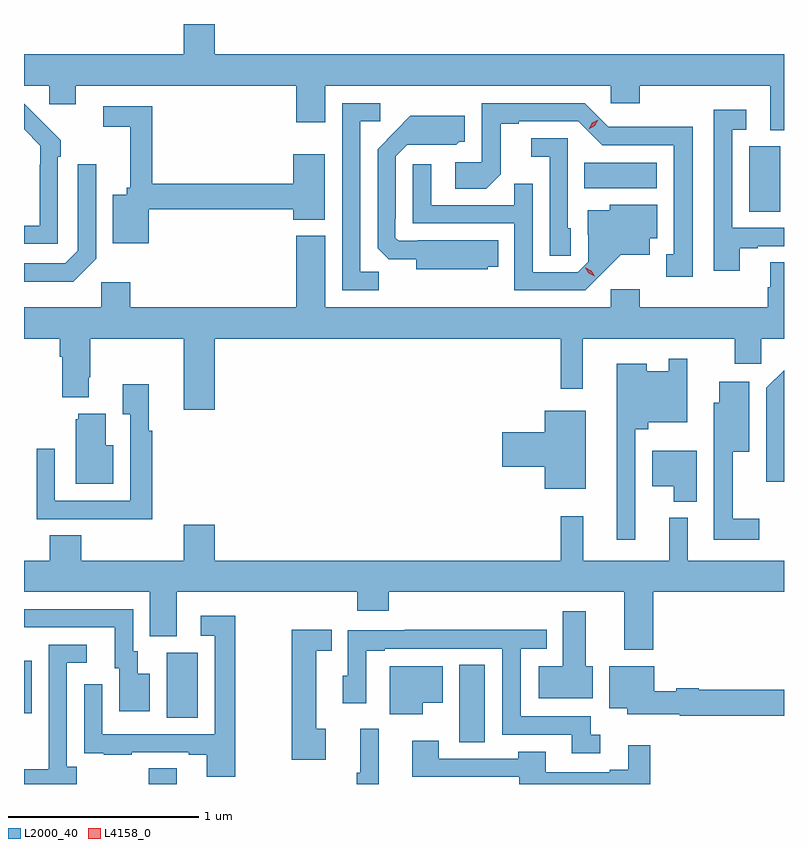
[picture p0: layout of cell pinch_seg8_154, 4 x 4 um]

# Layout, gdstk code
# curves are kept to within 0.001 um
import gdstk
lib = gdstk.Library(unit=1e-6, precision=1e-09)
def R(c, l, rs):  # rectangles x0, y0, x1, y1
    for r in rs: c.add(gdstk.rectangle(r[:2], r[2:], *l))
def P(c, l, *ps):  # polygons
    for p in ps: c.add(gdstk.Polygon(p, *l))
L2000_40 = (2000, 40)
L4158_0 = (4158, 0)

pinch_seg8_154 = lib.new_cell('pinch_seg8_154')
R(pinch_seg8_154, L2000_40, [(704.284,1146.124,704.431,1146.206), (705.92,1146.343,706.054,1146.752), (704.378,1146.472,704.542,1146.816), (703.628,1146.497,703.669,1146.772), (707.444,1149.136,707.608,1149.48), (706.576,1149.26,706.957,1149.394)])
P(pinch_seg8_154, L2000_40, [(704.632,1150.124),(704.468,1150.124),(704.468,1149.964),(703.628,1149.964),(703.628,1149.8),(703.761,1149.8),(703.761,1149.702),(703.9,1149.702),(703.9,1149.8),(705.062,1149.8),(705.062,1149.606),(705.214,1149.606),(705.214,1149.8),(706.716,1149.8),(706.716,1149.707),(706.868,1149.707),(706.868,1149.8),(707.555,1149.8),(707.555,1149.565),(707.628,1149.565),(707.628,1149.964),(704.632,1149.964)],
  [(707.149,1149.584),(706.926,1149.584),(706.926,1149.582),(706.704,1149.582),(706.578,1149.708),(706.038,1149.708),(706.038,1149.396),(705.897,1149.396),(705.897,1149.256),(706.061,1149.256),(706.137,1149.332),(706.137,1149.6),(706.231,1149.6),(706.231,1149.612),(706.545,1149.612),(706.671,1149.486),(707.048,1149.486),(707.048,1148.913),(707.009,1148.913),(707.009,1148.793),(707.149,1148.793)],
  [(705.495,1148.819),(705.399,1148.819),(705.399,1149.612),(705.502,1149.612),(705.502,1149.708),(705.303,1149.708),(705.303,1148.724),(705.495,1148.724)],
  [(703.806,1149.425),(703.821,1149.425),(703.821,1149.513),(703.628,1149.704),(703.628,1149.569),(703.713,1149.483),(703.713,1149.383),(703.71,1149.383),(703.71,1149.063),(703.628,1149.063),(703.628,1148.967),(703.806,1148.967)],
  [(704.284,1149.148),(705.044,1149.148),(705.044,1149.095),(705.211,1149.095),(705.211,1149.439),(705.044,1149.439),(705.044,1149.284),(704.303,1149.284),(704.303,1149.69),(704.046,1149.69),(704.046,1149.582),(704.186,1149.582),(704.186,1149.261),(704.168,1149.261),(704.168,1149.226),(704.096,1149.226),(704.096,1148.969),(704.284,1148.969)],
  [(707.395,1148.943),(707.491,1148.943),(707.491,1148.955),(707.628,1148.955),(707.628,1149.051),(707.355,1149.051),(707.355,1149.567),(707.428,1149.567),(707.428,1149.673),(707.259,1149.673),(707.259,1148.826),(707.395,1148.826)],
  [(706.068,1148.846),(706.124,1148.846),(706.124,1148.986),(705.7,1148.986),(705.7,1148.982),(705.6,1148.982),(705.582,1149),(705.582,1149.1),(705.585,1149.1),(705.585,1149.429),(705.645,1149.489),(705.902,1149.488),(705.918,1149.504),(705.949,1149.504),(705.949,1149.64),(705.661,1149.64),(705.489,1149.466),(705.489,1148.944),(705.548,1148.885),(705.692,1148.885),(705.692,1148.834),(706.068,1148.834)],
  [(706.506,1149.048),(706.491,1149.048),(706.491,1149.522),(706.299,1149.522),(706.299,1149.425),(706.395,1149.425),(706.395,1148.905),(706.506,1148.905)],
  [(704.007,1148.889),(704.007,1149.385),(703.911,1149.385),(703.911,1148.931),(703.845,1148.865),(703.628,1148.865),(703.628,1148.768),(703.886,1148.768)],
  [(706.666,1148.807),(706.769,1148.909),(706.921,1148.909),(706.921,1148.996),(706.96,1148.996),(706.96,1149.172),(706.71,1149.172),(706.71,1149.145),(706.595,1149.145),(706.595,1149.016),(706.599,1149.016),(706.599,1148.874),(706.542,1148.817),(706.305,1148.817),(706.305,1149.284),(706.207,1149.284),(706.207,1149.171),(705.771,1149.171),(705.771,1149.385),(705.675,1149.385),(705.675,1149.075),(706.209,1149.075),(706.209,1148.724),(706.582,1148.724)],
  [(704.632,1148.468),(706.453,1148.468),(706.453,1148.205),(706.57,1148.205),(706.57,1148.468),(707.369,1148.468),(707.369,1148.337),(707.508,1148.337),(707.508,1148.468),(707.628,1148.468),(707.628,1148.87),(707.555,1148.87),(707.555,1148.738),(707.543,1148.738),(707.543,1148.632),(706.868,1148.632),(706.868,1148.728),(706.716,1148.728),(706.716,1148.632),(705.214,1148.632),(705.214,1149.01),(705.062,1149.01),(705.062,1148.632),(704.186,1148.632),(704.186,1148.764),(704.034,1148.764),(704.034,1148.632),(703.628,1148.632),(703.628,1148.468),(703.817,1148.468),(703.817,1148.372),(703.829,1148.372),(703.829,1148.159),(703.969,1148.159),(703.969,1148.266),(703.977,1148.266),(703.977,1148.468),(704.468,1148.468),(704.468,1148.094),(704.632,1148.094)],
  [(706.845,1147.991),(706.914,1147.991),(706.914,1148.027),(707.118,1148.027),(707.118,1148.362),(707.022,1148.362),(707.022,1148.296),(706.906,1148.296),(706.906,1148.335),(706.748,1148.335),(706.748,1147.41),(706.845,1147.41)],
  [(707.628,1148.302),(707.535,1148.209),(707.535,1147.716),(707.628,1147.716)],
  [(707.497,1147.519),(707.357,1147.519),(707.357,1147.874),(707.446,1147.874),(707.446,1148.242),(707.288,1148.242),(707.288,1148.131),(707.259,1148.131),(707.259,1147.41),(707.497,1147.41)],
  [(704.303,1147.982),(704.285,1147.982),(704.285,1148.227),(704.147,1148.227),(704.147,1148.071),(704.187,1148.071),(704.187,1147.614),(703.791,1147.614),(703.791,1147.888),(703.695,1147.888),(703.695,1147.518),(704.011,1147.518),(704.011,1147.517),(704.303,1147.517)],
  [(706.585,1148.089),(706.37,1148.089),(706.37,1147.976),(706.146,1147.976),(706.146,1147.793),(706.37,1147.793),(706.37,1147.679),(706.585,1147.679)],
  [(704.098,1147.906),(704.059,1147.906),(704.059,1148.074),(703.913,1148.074),(703.913,1148.043),(703.901,1148.043),(703.901,1147.703),(704.098,1147.703)],
  [(707.17,1147.879),(706.934,1147.879),(706.934,1147.691),(707.048,1147.691),(707.048,1147.61),(707.17,1147.61)],
  [(706.94,1147.136),(707.628,1147.136),(707.628,1147.3),(707.122,1147.3),(707.122,1147.525),(707.024,1147.525),(707.024,1147.3),(706.571,1147.3),(706.571,1147.534),(706.453,1147.534),(706.453,1147.3),(704.632,1147.3),(704.632,1147.489),(704.468,1147.489),(704.468,1147.3),(703.928,1147.3),(703.928,1147.433),(703.763,1147.433),(703.763,1147.3),(703.628,1147.3),(703.628,1147.136),(704.291,1147.136),(704.291,1146.901),(704.431,1146.901),(704.431,1147.136),(705.383,1147.136),(705.383,1147.037),(705.548,1147.037),(705.548,1147.136),(706.787,1147.136),(706.787,1146.831),(706.94,1146.831)],
  [(704.29,1146.703),(704.227,1146.703),(704.227,1146.822),(704.202,1146.822),(704.202,1147.044),(703.628,1147.044),(703.628,1146.948),(704.105,1146.948),(704.105,1146.732),(704.129,1146.732),(704.129,1146.507),(704.29,1146.507)],
  [(706.621,1146.745),(706.585,1146.745),(706.585,1147.033),(706.463,1147.033),(706.463,1146.745),(706.337,1146.745),(706.337,1146.575),(706.621,1146.575)],
  [(704.74,1147.009),(704.559,1147.009),(704.559,1146.903),(704.631,1146.903),(704.631,1146.387),(704.04,1146.387),(704.04,1146.649),(703.944,1146.649),(703.944,1146.394),(703.945,1146.394),(703.945,1146.285),(704.047,1146.285),(704.047,1146.279),(704.195,1146.279),(704.195,1146.291),(704.495,1146.291),(704.495,1146.279),(704.591,1146.279),(704.591,1146.162),(704.74,1146.162)],
  [(706.66,1146.383),(706.61,1146.383),(706.61,1146.48),(706.242,1146.48),(706.242,1146.837),(706.378,1146.837),(706.378,1146.935),(705.631,1146.935),(705.631,1146.933),(705.333,1146.933),(705.333,1146.693),(705.305,1146.693),(705.305,1146.549),(705.429,1146.549),(705.429,1146.825),(705.526,1146.825),(705.526,1146.837),(706.146,1146.837),(706.146,1146.384),(706.511,1146.384),(706.511,1146.285),(706.66,1146.285)],
  [(705.217,1146.414),(705.166,1146.414),(705.166,1146.825),(705.248,1146.825),(705.248,1146.935),(705.037,1146.935),(705.037,1146.251),(705.217,1146.251)],
  [(703.906,1146.214),(703.854,1146.214),(703.854,1146.762),(703.957,1146.762),(703.957,1146.858),(703.758,1146.858),(703.758,1146.401),(703.757,1146.401),(703.757,1146.201),(703.628,1146.201),(703.628,1146.124),(703.906,1146.124)],
  [(705.727,1146.551),(705.832,1146.551),(705.832,1146.745),(705.554,1146.745),(705.554,1146.491),(705.727,1146.491)],
  [(707.628,1146.62),(707.178,1146.62),(707.178,1146.628),(707.06,1146.628),(707.06,1146.613),(706.945,1146.613),(706.945,1146.745),(706.709,1146.745),(706.709,1146.524),(706.802,1146.524),(706.802,1146.491),(707.078,1146.491),(707.078,1146.484),(707.628,1146.484)],
  [(705.496,1146.415),(705.398,1146.415),(705.398,1146.183),(705.379,1146.183),(705.379,1146.124),(705.496,1146.124)],
  [(706.925,1146.328),(706.808,1146.328),(706.808,1146.199),(706.712,1146.199),(706.712,1146.186),(706.375,1146.186),(706.375,1146.295),(706.228,1146.295),(706.228,1146.258),(705.811,1146.258),(705.811,1146.352),(705.671,1146.352),(705.671,1146.162),(706.235,1146.162),(706.235,1146.124),(706.925,1146.124)])
P(pinch_seg8_154, L4158_0, [(706.601,1149.57),(706.601,1149.57),(706.618,1149.603),(706.65,1149.621),(706.65,1149.621),(706.65,1149.621),(706.633,1149.589),(706.601,1149.57)],
  [(706.631,1148.796),(706.6,1148.812),(706.583,1148.842),(706.583,1148.842),(706.584,1148.842),(706.614,1148.826),(706.631,1148.797),(706.631,1148.796)])

lib.write_gds('pinch_seg8_154.gds')
